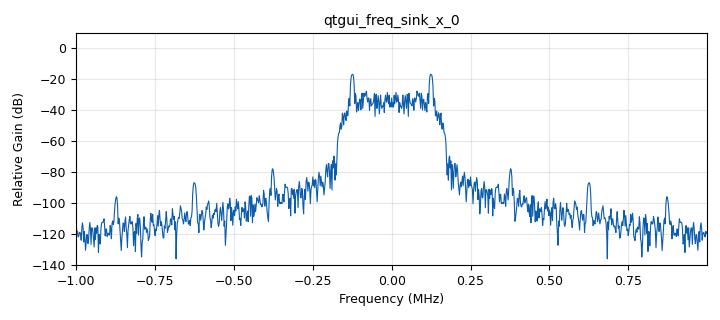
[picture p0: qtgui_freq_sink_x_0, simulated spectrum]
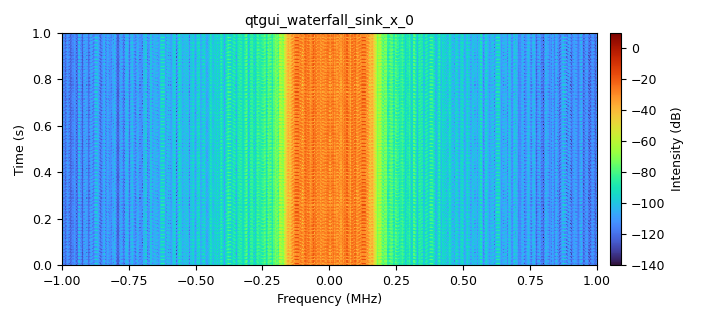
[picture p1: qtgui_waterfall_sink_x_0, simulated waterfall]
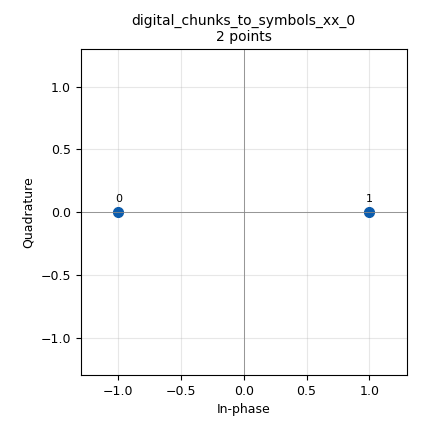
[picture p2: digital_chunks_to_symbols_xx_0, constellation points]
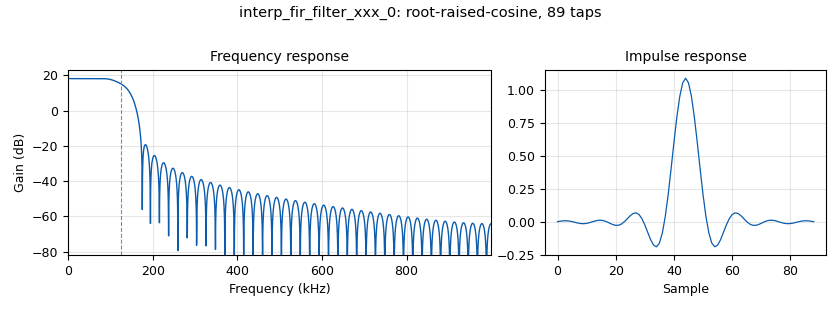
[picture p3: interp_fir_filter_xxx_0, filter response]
options:
  parameters:
    author: rootr
    generate_options: qt_gui
    generator_class_name: PythonQtGuiGenerator
    generator_module: gnuradio.grc.workflows.python_qt_gui
    id: msg_BPSK
    output_language: python
    title: Not titled yet
  states: {}

blocks:
- name: freq
  id: variable
  parameters:
    value: 915e6
  states: {}
- name: rrc_taps
  id: variable
  parameters:
    value: firdes.root_raised_cosine(sps, samp_rate, sym_rate, 0.35, 11*sps)
  states: {}
- name: samp_rate
  id: variable
  parameters:
    value: 2e6
  states: {}
- name: sps
  id: variable
  parameters:
    value: '8'
  states: {}
- name: sym_rate
  id: variable
  parameters:
    value: samp_rate / sps
  states: {}
- name: blocks_unpack_k_bits_bb_0
  id: blocks_unpack_k_bits_bb
  parameters:
    k: '8'
  states: {}
- name: blocks_vector_source_x_0
  id: blocks_vector_source_x
  parameters:
    repeat: 'True'
    type: byte
    vector: '[0xAA,0xAA,0xAA,0xAA, 0x2D,0xD4] + list(b"Hello World!")'
  states: {}
- name: digital_chunks_to_symbols_xx_0
  id: digital_chunks_to_symbols_xx
  parameters:
    dimension: '1'
    in_type: byte
    out_type: complex
    symbol_table: '[-1.0+0.0j, 1.0+0.0j]'
  states: {}
- name: iio_pluto_sink_0
  id: iio_pluto_sink
  parameters:
    attenuation1: '10.0'
    bandwidth: '2000000'
    buffer_size: '32768'
    cyclic: 'False'
    filter_source: '''Auto'''
    frequency: int(freq)
    samplerate: int(samp_rate)
    type: fc32
    uri: ip:192.168.1.10
  states: {}
- name: interp_fir_filter_xxx_0
  id: interp_fir_filter_xxx
  parameters:
    interp: sps
    taps: rrc_taps
    type: ccc
  states: {}
- name: qtgui_freq_sink_x_0
  id: qtgui_freq_sink_x
  parameters:
    bw: samp_rate
    fc: '0'
    fftsize: '1024'
    type: complex
  states: {}
- name: qtgui_waterfall_sink_x_0
  id: qtgui_waterfall_sink_x
  parameters:
    bw: samp_rate
    fc: '0'
    fftsize: '1024'
    type: complex
  states: {}

connections:
- [blocks_unpack_k_bits_bb_0, '0', digital_chunks_to_symbols_xx_0, '0']
- [blocks_vector_source_x_0, '0', blocks_unpack_k_bits_bb_0, '0']
- [digital_chunks_to_symbols_xx_0, '0', interp_fir_filter_xxx_0, '0']
- [interp_fir_filter_xxx_0, '0', iio_pluto_sink_0, '0']
- [interp_fir_filter_xxx_0, '0', qtgui_freq_sink_x_0, '0']
- [interp_fir_filter_xxx_0, '0', qtgui_waterfall_sink_x_0, '0']

metadata:
  file_format: 1
  grc_version: 3.10.12.0
